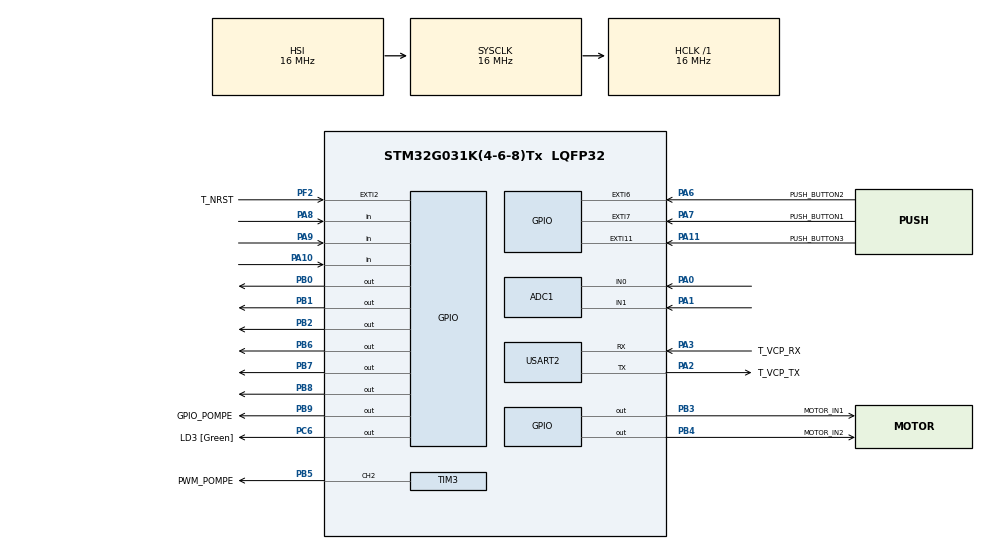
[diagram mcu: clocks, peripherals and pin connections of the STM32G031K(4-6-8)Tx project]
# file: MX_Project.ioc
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ADC1.Channel-0\#ChannelRegularConversion=ADC_CHANNEL_0
ADC1.NbrOfConversionFlag=1
ADC1.Rank-0\#ChannelRegularConversion=1
ADC1.SamplingTime-0\#ChannelRegularConversion=ADC_SAMPLINGTIME_COMMON_1
ADC1.SelectedChannel=ADC_CHANNEL_0|ADC_CHANNEL_1
ADC1.master=1
Mcu.Family=STM32G0
Mcu.Name=STM32G031K(4-6-8)Tx
Mcu.Package=LQFP32
NVIC.EXTI4_15_IRQn=true\:0\:0\:false\:false\:true\:true\:true\:true
PA0.Mode=IN0
PA0.Signal=ADC1_IN0
PA1.Mode=IN1
PA1.Signal=ADC1_IN1
PA10.Signal=GPIO_Input
PA11\ [PA9].GPIO_Label=PUSH_BUTTON3
PA11\ [PA9].GPIO_ModeDefaultEXTI=GPIO_MODE_IT_RISING_FALLING
PA11\ [PA9].GPIO_PuPd=GPIO_PULLUP
PA11\ [PA9].Signal=GPXTI11
PA13.GPIO_Label=T_JTMS
PA13.Mode=Serial_Wire
PA13.Signal=SYS_SWDIO
PA14-BOOT0.GPIO_Label=T_JTCK
PA14-BOOT0.Mode=Serial_Wire
PA14-BOOT0.Signal=SYS_SWCLK
PA2.GPIO_Label=T_VCP_TX
PA2.GPIO_PuPd=GPIO_PULLUP
PA2.Mode=Asynchronous
PA2.Signal=USART2_TX
PA3.GPIO_Label=T_VCP_RX
PA3.GPIO_PuPd=GPIO_PULLUP
PA3.Mode=Asynchronous
PA3.Signal=USART2_RX
PA6.GPIO_Label=PUSH_BUTTON2
PA6.GPIO_ModeDefaultEXTI=GPIO_MODE_IT_RISING_FALLING
PA6.GPIO_PuPd=GPIO_PULLUP
PA6.Signal=GPXTI6
PA7.GPIO_Label=PUSH_BUTTON1
PA7.GPIO_ModeDefaultEXTI=GPIO_MODE_IT_RISING_FALLING
PA7.GPIO_PuPd=GPIO_PULLUP
PA7.Signal=GPXTI7
PA8.Signal=GPIO_Input
PA9.Signal=GPIO_Input
PB0.Signal=GPIO_Output
PB1.Signal=GPIO_Output
PB2.Signal=GPIO_Output
PB3.GPIO_Label=MOTOR_IN1
PB3.Signal=GPIO_Output
PB4.GPIO_Label=MOTOR_IN2
PB4.Signal=GPIO_Output
PB5.GPIO_Label=PWM_POMPE
PB5.GPIO_ModeDefaultPP=GPIO_MODE_AF_PP
PB5.GPIO_PuPd=GPIO_NOPULL
PB5.GPIO_Speed=GPIO_SPEED_FREQ_LOW
PB5.Signal=S_TIM3_CH2
PB6.Signal=GPIO_Output
PB7.Signal=GPIO_Output
PB8.Signal=GPIO_Output
PB9.GPIO_Label=GPIO_POMPE
PB9.Signal=GPIO_Output
PC14-OSC32_IN\ (PC14).Mode=LSE-External-Oscillator
PC14-OSC32_IN\ (PC14).Signal=RCC_OSC32_IN
PC15-OSC32_OUT\ (PC15).Mode=LSE-External-Oscillator
PC15-OSC32_OUT\ (PC15).Signal=RCC_OSC32_OUT
PC6.GPIO_Label=LD3 [Green]
PC6.Signal=GPIO_Output
PF2\ -\ NRST.GPIO_Label=T_NRST
PF2\ -\ NRST.Signal=GPXTI2
ProjectManager.HeapSize=0x200
ProjectManager.StackSize=0x400
ProjectManager.TargetToolchain=STM32CubeIDE
RCC.AHBFreq_Value=16000000
RCC.CortexFreq_Value=16000000
RCC.EXTERNAL_CLOCK_VALUE=12288000
RCC.HCLKFreq_Value=16000000
RCC.HSE_VALUE=8000000
RCC.HSI_VALUE=16000000
RCC.SYSCLKFreq_VALUE=16000000
RCC.VCOOutputFreq_Value=128000000
SH.S_TIM3_CH2.0=TIM3_CH2,PWM Generation2 CH2
TIM3.AutoReloadPreload=TIM_AUTORELOAD_PRELOAD_ENABLE
TIM3.Channel-PWM\ Generation2\ CH2=TIM_CHANNEL_2
TIM3.Period=799
USART2.VirtualMode-Asynchronous=VM_ASYNC
USART2.WordLength=WORDLENGTH_7B
VP_TIM3_VS_ClockSourceINT.Mode=Internal
board=NUCLEO-G031K8

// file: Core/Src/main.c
/* USER CODE BEGIN Header */
/**
  ******************************************************************************
  * @file           : main.c
  * @brief          : Main program body
  ******************************************************************************
  * @attention
  *
  * Copyright (c) 2025 STMicroelectronics.
  * All rights reserved.
  *
  * This software is licensed under terms that can be found in the LICENSE file
  * in the root directory of this software component.
  * If no LICENSE file comes with this software, it is provided AS-IS.
  *
  ******************************************************************************
  */
/* USER CODE END Header */
#include "main.h"

/* USER CODE BEGIN Includes */
#include <motor_driver_fan.h>
#include <motor_driver_pump.h>
#include "capteurs.h"
#include "lcd.h"
#include "lcd_page_manager.h"
#include "filter.h"
#include "error_handler.h"
#include <stdio.h>
#include <stdlib.h>
#include <string.h>
/* USER CODE END Includes */

/* USER CODE BEGIN PD */

/* Calibration humidite SEN0193 - base DFRobot adaptée en 12 bits */

/* USER CODE END PD */

ADC_HandleTypeDef hadc1;

TIM_HandleTypeDef htim3;

UART_HandleTypeDef huart2;

//Flags d'interruption pour les boutons poussoir : mis à TRUE par IT GPIO
// Mis à FALSE par le main
volatile bool PB1_pressed = false;   // Flag PB1 - Bouton rouge - navigation dans les menus
volatile bool PB2_pressed = false;   // Flag PB2 - Bouton blanc - Incrémentation consigne ou Forcage manuel
volatile bool PB3_pressed = false;   // Flag PB3 - Bouton vert - Décrémentation consigne ou Forcage manuel
void SystemClock_Config(void);
static void MX_GPIO_Init(void);
static void MX_USART2_UART_Init(void);
static void MX_ADC1_Init(void);
static void MX_TIM3_Init(void);
/* USER CODE BEGIN PFP */
void HAL_TIM_MspPostInit(TIM_HandleTypeDef *htim); //prototype de HAL_TIM_MspPostInit pour éviter warning

float TMP235_linear(float voltage);
float humidity_from_raw(uint32_t raw);
uint32_t ReadADC_Channel(uint32_t channel);

#define V_REF      3.3f		 // Vref 3.3V
#define V_OFFSET   0.130f    // offset mesure a 0V

#define AIR_VALUE   2675.0f  // mesure en air sec
#define WATER_VALUE 1780.0f  // mesure dans l'eau
/* USER CODE END PFP */

/* USER CODE BEGIN 0 */

static lcd_state_t lcd_prev = {0};
static lcd_state_t lcd_curr = {0};

/* USER CODE END 0 */

int main(void)
{

  /* MCU Configuration--------------------------------------------------------*/

  /* Reset of all peripherals, Initializes the Flash interface and the Systick. */
  HAL_Init();

  /* Configure the system clock */
  SystemClock_Config();

  /* Initialize all configured peripherals */
  MX_GPIO_Init();
  MX_USART2_UART_Init();
  MX_ADC1_Init();
  MX_TIM3_Init();

  /* USER CODE BEGIN 2 */

  // On initialise le moteur a OFF
  Motor_Off();
  // On initialise la pompe a OFF
  Pump_Init(); // init de la pompe

  //--Paramètres de régulation par défaut--//
  static int Var_page = 1; // page affichée au démarrage
  static int seuil_temperature = 25;  // Seuil de température par défaut
  static int seuil_humidite = 18;     // Seuil d'humidité par défaut
  static int code_erreur = 0; //init du code erreur à 0
  uint8_t speed = 0;  // Variable pour la vitesse de la pompe (0-100) en %

  //--Configuration du PWM pour la pompe--//
  //--Calcul de la rampe linéaire à l'approche du seuil d'humidité--//
  float x1 = 0.55f;  // 0.55*seuil_humidite → speed = 100
  float y1 = 100.0f;
  float x2 = 1.0f;  // 1.0*seuil_humidite → speed = 50
  float y2 = 50.0f;
  // Calcul des coefficients m et b de la droite y = mx + b
  float m = (y2 - y1) / (x2 - x1);
  float b = y1 - m * x1;

  // Initialisation LCD
  lcd_init();
  lcd_clear();
  static uint32_t last_lcd_update = 0;

  // Affichage
  lcd_position_cursor(0,0);
  lcd_show_txt("HELLO WORLD");

  lcd_position_cursor(0,1);
  lcd_show_txt("STM32G031U");

  // Pour debug avec printf -- pas besoin en opérationnel
  /*char buffert[80];
  char bufferh[80];*/

 //- Filtrage sur moyenne glissante pour éviter le clear intempestif du LCD --//
  // Init Moyenne glissante
  static int t_display = 0; // température affichée
  static int h_display = 0; // humidité affichée

  #define TEMP_DEADBAND 1 // 1 °C de DEADBAND
  #define HUM_DEADBAND  2 // 2 % de DEADBAND

  moving_avg_filter_t temp_filter;
  moving_avg_filter_t hum_filter;
  //Moyenne glissante sur 8 échantillons pour stabiliser l'affichage sur le LCD
  filter_init(&temp_filter, 8, seuil_temperature); //init du filtre au seuil_temperature
  filter_init(&hum_filter, 8, seuil_humidite); //init du filtre au seuil humidite

  	 // Init de l'Error Handler
  error_handler_init(seuil_temperature, seuil_humidite); // Init de l'error handler
  /* USER CODE END 2 */

  /* Infinite loop */
  /* USER CODE BEGIN WHILE */
  while (1)
  {

	  // Connaitre l'instant présent - utilisé dans l'error handler et dans le rafraichissement du LCD
      uint32_t now = HAL_GetTick();

	  /* ================== HUMIDITE sur PA0 = ADC1_IN0 ================== */
	      uint32_t raw_hum = ReadADC_Channel(ADC_CHANNEL_0);
	      float humidity = CAPTEURS_ComputeHumidity(raw_hum, AIR_VALUE, WATER_VALUE);

	      int h100 = (int)(humidity * 100.0f);
	      int h_int = h100 / 100;
	      //int h_dec = abs(h100 % 100); //utilisée que pour le debug

	      /*Pour le debug
	      sprintf(bufferh,
	              "H: rawHum=%lu  Humidite=%d.%02d %%\r\n",
	              raw_hum, h_int, h_dec);
	      HAL_UART_Transmit(&huart2, (uint8_t*)bufferh, strlen(bufferh), HAL_MAX_DELAY);*/

	      /* ============== TEMPERATURE sur PA1 = ADC1_IN1 (TMP235) ============== */
	      uint32_t raw_temp = ReadADC_Channel(ADC_CHANNEL_1);
	      float temperature = CAPTEURS_ComputeTemperature(raw_temp, V_REF, V_OFFSET);

	      int t100 = (int)(temperature * 100.0f);
	      int t_int = t100 / 100;
	      //int t_dec = abs(t100 % 100); //utilisée que pour le debug

	      /*Pour le debug
	      sprintf(buffert,
	              "T: raw=%lu  T=%d.%02d C\r\n",
	              raw_temp, t_int, t_dec);
	      HAL_UART_Transmit(&huart2, (uint8_t*)buffert, strlen(buffert), HAL_MAX_DELAY);*/

	      // ===================== Filtrage numérique Temperature et Humidite =====================
	      /* Un filtrage logiciel par moyenne glissante permet de supprimer le bruit des capteurs
	      tout en conservant une information pertinente pour l’utilisateur, sans bloquer l’exécution du système. */
	      int t_filt = filter_update(&temp_filter, t_int);
	      int h_filt = filter_update(&hum_filter, h_int);

	      /* --- Température --- */
	      if (abs(t_filt - t_display) >= TEMP_DEADBAND)
	      {
	          t_display = t_filt;
	      }

	      /* --- Humidité --- */
	      if (abs(h_filt - h_display) >= HUM_DEADBAND)
	      {
	          h_display = h_filt;
	      }

	      // ===================== Asservissement de la Ventilation en Automatique =====================
	      // Le contrôle est actif seulement si on n'est pas sur la Page 4 (Mode Manuel)
	      if (Var_page != 4)
	      {
	    	  if (temperature >= seuil_temperature)
	    	  {
	              Motor_On();
	    	  } else if (temperature < (seuil_temperature - 0.5f))
	    		  // petite hysteresis pour éviter que
	    		  // le ventilateur démmarre et s'arrête en permanence quand temperature oscille sur seuil_temperature
	    	  {
	    	  	  Motor_Off();
	    	  }

	      // ===================== Asservissement de la Pompe en Automatique =====================

	    	  // Asservissement linéaire
	    	  //Plus l'humidité est éloignée de sa consigne, plus la pompe tourne à haute vitesse
	    	  //Plus l'humidité s'approche de sa valeur consigne, moins la pompe tourne

	    	  // Calcul du ratio humidité courante / consigne pour la loi PWM
	    	  float humidity_ratio = (float)humidity / seuil_humidite;

	    	  // Application de l'équation de droite
	    	  if (humidity_ratio <= x1) // Zone 1 : Besoin critique (100% PWM)
	    	  {
	    	      speed = 100;  // Vitesse max si humidity <= 0.55*seuil_humidite
	    	  }
	    	  else if (humidity_ratio <= x2) // Zone 2 : Régulation douce (Approche)
	    	  {
	    	      speed = (uint8_t)(m * humidity_ratio + b);  // Rampe linéaire
	    	  }
	    	  else // Zone 3 : Consigne atteinte
	    	  {
	    	      speed = 0;  // Pompe éteinte si humidity > 0.999*seuil_humidite
	    	      Pump_Stop();
	    	  }
	    	  	Pump_SetSpeed(speed);

	      } else {
	    	  // Ne rien faire
	      }

	      // ===================== Changement de page si PB1 appuyé =====================
	      if (PB1_pressed)
	      {
	          PB1_pressed = false;       // on consomme l'événement

	          Var_page++;
	          if (Var_page > 5)
	              Var_page = 1;          // retour à la page 1
	      }

	      // ===================== Mise à jour de l'etat courant de la structure lcd_state_t =====================
	      lcd_curr.page = Var_page;
	      lcd_curr.t_filt = t_display;
	      lcd_curr.h_filt = h_display;
	      lcd_curr.seuil_temperature = seuil_temperature;
	      lcd_curr.seuil_humidite = seuil_humidite;
	      lcd_curr.code_erreur = code_erreur;
	      lcd_curr.pump_on = Pump_IsOn();
	      lcd_curr.fan_on = Motor_IsOn();

	      // ===================== Gestion de l'affichage (500ms) =====================
	      // Boucle principale de l'affichage LCD

	      // Le rafraîchissement est cadencé pour éviter les scintillements de l'écran
	      if ((now - last_lcd_update) >= 500)   // 500 ms = confort visuel
	          {
	              last_lcd_update = now;

	              // ===================== Mise à jour de l'écran LCD uniquement sur évênement =====================
	              // On compare l'état actuel (lcd_curr) avec l'état précédent (lcd_prev)
	              switch (Var_page)
	              {
	              case 1:
	            	  // -------- PAGE 1 --------
	            	  // Temperature     x°C
	            	  // Humidite        x%

	            	  lcd_page_1(&lcd_curr, &lcd_prev);

	                 break;

	              case 2:
	            	  // -------- PAGE 2 --------
	            	  // Temperature     x°C
	            	  // Seuil           x°C -- limité 0 -> 51°C

	            		  if (PB2_pressed && !PB3_pressed)
	            		 {
	            		  PB2_pressed = false;       // on consomme l'événement
	            		  if (seuil_temperature < 51) seuil_temperature  += 1;// + 1
	            		 }
	            		 if (PB3_pressed && !PB2_pressed)
	            		 {
	            		  PB3_pressed = false;       // on consomme l'événement
	            		  if (seuil_temperature > 0) seuil_temperature -= 1; // - 1
	            		 }
	            	  lcd_page_2(&lcd_curr, &lcd_prev);

	                 break;

	              case 3:
	            	  // -------- PAGE 3 --------
	            	  // Humidite        x%
	            	  // Seuil           x% -- limité 0 -> 100%

	            	  if (PB2_pressed && !PB3_pressed )
	            	  {
	            		  PB2_pressed = false;       // on consomme l'événement
	            		  if (seuil_humidite < 100) seuil_humidite += 1; // +1
	            	  }
	            	  if (PB3_pressed && !PB2_pressed )
	            	  {
	            		  PB3_pressed = false;       // on consomme l'événement
	            		  if (seuil_humidite > 0) seuil_humidite -= 1; // -1
	            	  }

	            	  lcd_page_3(&lcd_curr, &lcd_prev);

	                 break;

	              case 4:
	            	  // -------- PAGE 4 --------
	            	  // Pompe       ON/OFF
	            	  // Ventilateur ON/OFF

	            	  // ===================== Ventilateur Manuel=====================
	            	  if (PB2_pressed)
	            	  {
	            		  PB2_pressed = false;   // On remet PB à false
	            		  if (Motor_IsOn()) // si le moteur est déjà allumé on l'éteind
	            			  Motor_Off();
	            		  else				// si le moteur est éteind on l'allume
	            			  Motor_On();
	            	  }

	            	  // ===================== Pompe Manuelle=====================
	            	  if (PB3_pressed)
	            	  {
	            		  PB3_pressed = false;   // On remet PB à false
	            		  if (Pump_IsOn())		// si la pompe est déjà allumé on l'éteind
	            			  Pump_Stop();
	            		  else
	            			  Pump_SetSpeed(100);   // // si la pompe est éteinte on l'allume à 100% PWM
	            	  }

	            	  lcd_page_4(&lcd_curr, &lcd_prev);

	                 break;

	              case 5:
	              	  // -------- PAGE 5 -------- MAINTENANCE
	      			// SYSTEME OK
	      			// FAN SYSTEM OK/KO
	      			// PUMP SYSTEM OK/KO
	            	  	  code_erreur = error_handler_has_error(); // mise à jour du code erreur
	              	      lcd_page_5(&lcd_curr, &lcd_prev);

	              	 break;

	              }
	          }

	      //Gestion des erreurs
	      error_handler_update(
	          t_filt,
	          h_filt,
			  seuil_temperature,
			  seuil_humidite,
	          Motor_IsOn(),
	          Pump_IsOn(),
	          now
	      );

	      /*Pour le debug
	      sprintf(bufferh,
	              "ErrorHandlerHasError: %d\r\n",
				  error_handler_has_error());
	      HAL_UART_Transmit(&huart2, (uint8_t*)bufferh, strlen(bufferh), HAL_MAX_DELAY);*/
    /* USER CODE END WHILE */

  }
}

void SystemClock_Config(void)
{
  RCC_OscInitTypeDef RCC_OscInitStruct = {0};
  RCC_ClkInitTypeDef RCC_ClkInitStruct = {0};

  /** Configure the main internal regulator output voltage
  */
  HAL_PWREx_ControlVoltageScaling(PWR_REGULATOR_VOLTAGE_SCALE1);

  /** Initializes the RCC Oscillators according to the specified parameters
  * in the RCC_OscInitTypeDef structure.
  */
  RCC_OscInitStruct.OscillatorType = RCC_OSCILLATORTYPE_HSI;
  RCC_OscInitStruct.HSIState = RCC_HSI_ON;
  RCC_OscInitStruct.HSIDiv = RCC_HSI_DIV1;
  RCC_OscInitStruct.HSICalibrationValue = RCC_HSICALIBRATION_DEFAULT;
  RCC_OscInitStruct.PLL.PLLState = RCC_PLL_NONE;
  if (HAL_RCC_OscConfig(&RCC_OscInitStruct) != HAL_OK)
  {
    Error_Handler();
  }

  /** Initializes the CPU, AHB and APB buses clocks
  */
  RCC_ClkInitStruct.ClockType = RCC_CLOCKTYPE_HCLK|RCC_CLOCKTYPE_SYSCLK
                              |RCC_CLOCKTYPE_PCLK1;
  RCC_ClkInitStruct.SYSCLKSource = RCC_SYSCLKSOURCE_HSI;
  RCC_ClkInitStruct.AHBCLKDivider = RCC_SYSCLK_DIV1;
  RCC_ClkInitStruct.APB1CLKDivider = RCC_HCLK_DIV1;

  if (HAL_RCC_ClockConfig(&RCC_ClkInitStruct, FLASH_LATENCY_0) != HAL_OK)
  {
    Error_Handler();
  }
}

static void MX_ADC1_Init(void)
{

  ADC_ChannelConfTypeDef sConfig = {0};

  /** Configure the global features of the ADC (Clock, Resolution, Data Alignment and number of conversion)
  */
  hadc1.Instance = ADC1;
  hadc1.Init.ClockPrescaler = ADC_CLOCK_SYNC_PCLK_DIV2;
  hadc1.Init.Resolution = ADC_RESOLUTION_12B;
  hadc1.Init.DataAlign = ADC_DATAALIGN_RIGHT;
  hadc1.Init.ScanConvMode = ADC_SCAN_DISABLE;
  hadc1.Init.EOCSelection = ADC_EOC_SINGLE_CONV;
  hadc1.Init.LowPowerAutoWait = DISABLE;
  hadc1.Init.LowPowerAutoPowerOff = DISABLE;
  hadc1.Init.ContinuousConvMode = DISABLE;
  hadc1.Init.NbrOfConversion = 1;
  hadc1.Init.DiscontinuousConvMode = DISABLE;
  hadc1.Init.ExternalTrigConv = ADC_SOFTWARE_START;
  hadc1.Init.ExternalTrigConvEdge = ADC_EXTERNALTRIGCONVEDGE_NONE;
  hadc1.Init.DMAContinuousRequests = DISABLE;
  hadc1.Init.Overrun = ADC_OVR_DATA_PRESERVED;
  hadc1.Init.SamplingTimeCommon1 = ADC_SAMPLETIME_1CYCLE_5;
  hadc1.Init.SamplingTimeCommon2 = ADC_SAMPLETIME_1CYCLE_5;
  hadc1.Init.OversamplingMode = DISABLE;
  hadc1.Init.TriggerFrequencyMode = ADC_TRIGGER_FREQ_HIGH;
  if (HAL_ADC_Init(&hadc1) != HAL_OK)
  {
    Error_Handler();
  }

  /** Configure Regular Channel
  */
  sConfig.Channel = ADC_CHANNEL_0;
  sConfig.Rank = ADC_REGULAR_RANK_1;
  sConfig.SamplingTime = ADC_SAMPLINGTIME_COMMON_1;
  if (HAL_ADC_ConfigChannel(&hadc1, &sConfig) != HAL_OK)
  {
    Error_Handler();
  }

}

static void MX_TIM3_Init(void)
{

  TIM_ClockConfigTypeDef sClockSourceConfig = {0};
  TIM_MasterConfigTypeDef sMasterConfig = {0};
  TIM_OC_InitTypeDef sConfigOC = {0};

  htim3.Instance = TIM3;
  htim3.Init.Prescaler = 0;
  htim3.Init.CounterMode = TIM_COUNTERMODE_UP;
  htim3.Init.Period = 799;
  htim3.Init.ClockDivision = TIM_CLOCKDIVISION_DIV1;
  htim3.Init.AutoReloadPreload = TIM_AUTORELOAD_PRELOAD_ENABLE;
  if (HAL_TIM_Base_Init(&htim3) != HAL_OK)
  {
    Error_Handler();
  }
  sClockSourceConfig.ClockSource = TIM_CLOCKSOURCE_INTERNAL;
  if (HAL_TIM_ConfigClockSource(&htim3, &sClockSourceConfig) != HAL_OK)
  {
    Error_Handler();
  }
  if (HAL_TIM_PWM_Init(&htim3) != HAL_OK)
  {
    Error_Handler();
  }
  sMasterConfig.MasterOutputTrigger = TIM_TRGO_RESET;
  sMasterConfig.MasterSlaveMode = TIM_MASTERSLAVEMODE_DISABLE;
  if (HAL_TIMEx_MasterConfigSynchronization(&htim3, &sMasterConfig) != HAL_OK)
  {
    Error_Handler();
  }
  sConfigOC.OCMode = TIM_OCMODE_PWM1;
  sConfigOC.Pulse = 0;
  sConfigOC.OCPolarity = TIM_OCPOLARITY_HIGH;
  sConfigOC.OCFastMode = TIM_OCFAST_DISABLE;
  if (HAL_TIM_PWM_ConfigChannel(&htim3, &sConfigOC, TIM_CHANNEL_2) != HAL_OK)
  {
    Error_Handler();
  }
  HAL_TIM_MspPostInit(&htim3);

}

static void MX_USART2_UART_Init(void)
{

  huart2.Instance = USART2;
  huart2.Init.BaudRate = 115200;
  huart2.Init.WordLength = UART_WORDLENGTH_8B;
  huart2.Init.StopBits = UART_STOPBITS_1;
  huart2.Init.Parity = UART_PARITY_NONE;
  huart2.Init.Mode = UART_MODE_TX_RX;
  huart2.Init.HwFlowCtl = UART_HWCONTROL_NONE;
  huart2.Init.OverSampling = UART_OVERSAMPLING_16;
  huart2.Init.OneBitSampling = UART_ONE_BIT_SAMPLE_DISABLE;
  huart2.Init.ClockPrescaler = UART_PRESCALER_DIV1;
  huart2.AdvancedInit.AdvFeatureInit = UART_ADVFEATURE_NO_INIT;
  if (HAL_UART_Init(&huart2) != HAL_OK)
  {
    Error_Handler();
  }

}

static void MX_GPIO_Init(void)
{
  GPIO_InitTypeDef GPIO_InitStruct = {0};

  /* GPIO Ports Clock Enable */
  __HAL_RCC_GPIOB_CLK_ENABLE();
  __HAL_RCC_GPIOC_CLK_ENABLE();
  __HAL_RCC_GPIOF_CLK_ENABLE();
  __HAL_RCC_GPIOA_CLK_ENABLE();

  /*Configure GPIO pin Output Level */
  HAL_GPIO_WritePin(GPIOB, GPIO_POMPE_Pin|GPIO_PIN_0|GPIO_PIN_1|GPIO_PIN_2
                          |MOTOR_IN1_Pin|MOTOR_IN2_Pin|GPIO_PIN_6|GPIO_PIN_7
                          |GPIO_PIN_8, GPIO_PIN_RESET);

  /*Configure GPIO pin Output Level */
  HAL_GPIO_WritePin(LD3_GPIO_Port, LD3_Pin, GPIO_PIN_RESET);

  /*Configure GPIO pins : GPIO_POMPE_Pin PB0 PB1 PB2
                           MOTOR_IN1_Pin MOTOR_IN2_Pin PB6 PB7
                           PB8 */
  GPIO_InitStruct.Pin = GPIO_POMPE_Pin|GPIO_PIN_0|GPIO_PIN_1|GPIO_PIN_2
                          |MOTOR_IN1_Pin|MOTOR_IN2_Pin|GPIO_PIN_6|GPIO_PIN_7
                          |GPIO_PIN_8;
  GPIO_InitStruct.Mode = GPIO_MODE_OUTPUT_PP;
  GPIO_InitStruct.Pull = GPIO_NOPULL;
  GPIO_InitStruct.Speed = GPIO_SPEED_FREQ_LOW;
  HAL_GPIO_Init(GPIOB, &GPIO_InitStruct);

  /*Configure GPIO pin : T_NRST_Pin */
  GPIO_InitStruct.Pin = T_NRST_Pin;
  GPIO_InitStruct.Mode = GPIO_MODE_IT_RISING;
  GPIO_InitStruct.Pull = GPIO_NOPULL;
  HAL_GPIO_Init(T_NRST_GPIO_Port, &GPIO_InitStruct);

  /*Configure GPIO pins : PUSH_BUTTON2_Pin PUSH_BUTTON1_Pin PUSH_BUTTON3_Pin */
  GPIO_InitStruct.Pin = PUSH_BUTTON2_Pin|PUSH_BUTTON1_Pin|PUSH_BUTTON3_Pin;
  GPIO_InitStruct.Mode = GPIO_MODE_IT_RISING_FALLING;
  GPIO_InitStruct.Pull = GPIO_PULLUP;
  HAL_GPIO_Init(GPIOA, &GPIO_InitStruct);

  /*Configure GPIO pins : PA8 PA9 PA10 */
  GPIO_InitStruct.Pin = GPIO_PIN_8|GPIO_PIN_9|GPIO_PIN_10;
  GPIO_InitStruct.Mode = GPIO_MODE_INPUT;
  GPIO_InitStruct.Pull = GPIO_NOPULL;
  HAL_GPIO_Init(GPIOA, &GPIO_InitStruct);

  /*Configure GPIO pin : LD3_Pin */
  GPIO_InitStruct.Pin = LD3_Pin;
  GPIO_InitStruct.Mode = GPIO_MODE_OUTPUT_PP;
  GPIO_InitStruct.Pull = GPIO_NOPULL;
  GPIO_InitStruct.Speed = GPIO_SPEED_FREQ_LOW;
  HAL_GPIO_Init(LD3_GPIO_Port, &GPIO_InitStruct);

  /* EXTI interrupt init*/
  HAL_NVIC_SetPriority(EXTI4_15_IRQn, 0, 0);
  HAL_NVIC_EnableIRQ(EXTI4_15_IRQn);

}

/* USER CODE BEGIN 4 */
// Fonction pour faire blinker la LED du STM32
void LED_BLINK(uint32_t blink_period_ms)
{
    static uint32_t last_toggle = 0;
    uint32_t now = HAL_GetTick();

    if ((now - last_toggle) >= blink_period_ms) // Check du temps
    {
        last_toggle = now;
        HAL_GPIO_TogglePin(LD3_GPIO_Port, LD3_Pin); // Change l'état de la LED
    }
}

// Interruption
void HAL_GPIO_EXTI_Rising_Callback(uint16_t GPIO_Pin)
{
    // Anti-rebond logiciel : On ignore les impulsions parasites < 200ms
    // générées par le contact mécanique des bouton
    static uint32_t last_interrupt_time = 0;
    uint32_t now = HAL_GetTick();
    if (now - last_interrupt_time < 200) return;  // 200 ms debounce
    last_interrupt_time = now;

    if (GPIO_Pin == PUSH_BUTTON1_Pin)
    {
        PB1_pressed = true;   // Flag PB1
    }

    if (GPIO_Pin == PUSH_BUTTON2_Pin)
    {
        PB2_pressed = true;   // Flag PB2
    }

    if (GPIO_Pin == PUSH_BUTTON3_Pin)
    {
        PB3_pressed = true;   // Flag PB3
    }
}

/* Lecture d un canal ADC1 par polling */
// Pas besoin d'interruption pour l'ADC car les mesures sont lentes (température et humidité)
uint32_t ReadADC_Channel(uint32_t channel)
{
    ADC_ChannelConfTypeDef sConfig = {0};

    //Configuration du channel
    sConfig.Channel      = channel;
    sConfig.Rank         = ADC_REGULAR_RANK_1; // Priorité 1
    sConfig.SamplingTime = ADC_SAMPLINGTIME_COMMON_1; // Temps d'échantillonnage

    // Application de la configuration sur ADC1
    HAL_ADC_ConfigChannel(&hadc1, &sConfig);

    // Conversion
    HAL_ADC_Start(&hadc1);

    //Attente fin de conversion
    HAL_ADC_PollForConversion(&hadc1, 100);

    //Retour de la valeur ADC lue
    return HAL_ADC_GetValue(&hadc1);
}

/* USER CODE END 4 */

void Error_Handler(void)
{
  __disable_irq();
  while (1)
  {
  }
}
